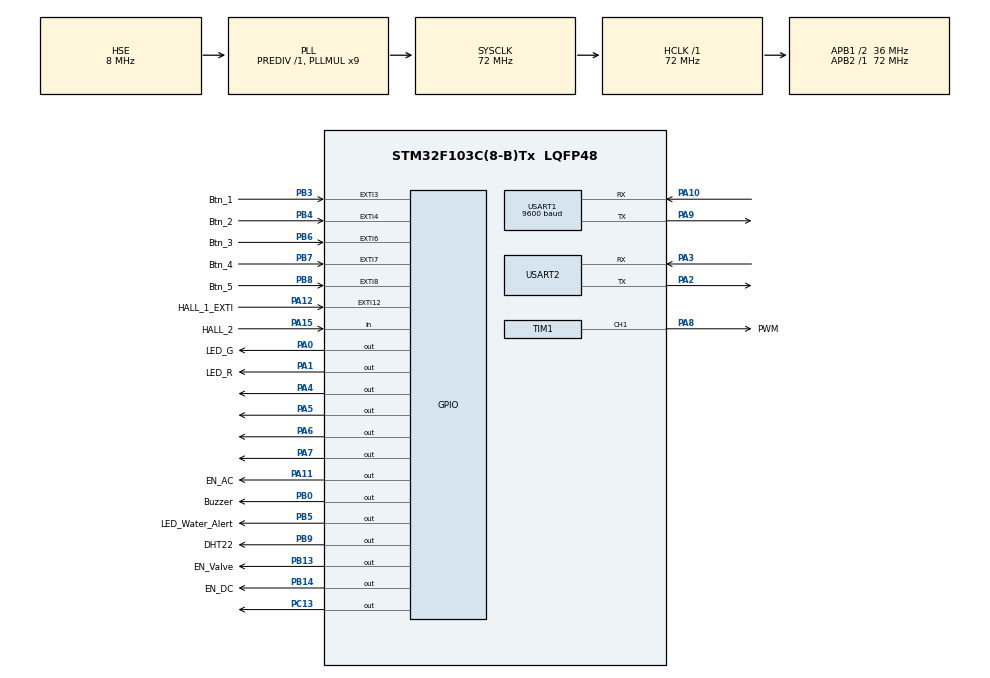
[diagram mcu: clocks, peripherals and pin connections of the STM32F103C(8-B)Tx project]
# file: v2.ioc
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Mcu.Family=STM32F1
Mcu.Name=STM32F103C(8-B)Tx
Mcu.Package=LQFP48
NVIC.EXTI15_10_IRQn=true\:3\:0\:true\:false\:true\:true\:true\:true
NVIC.EXTI3_IRQn=true\:3\:0\:true\:false\:true\:true\:true\:true
NVIC.EXTI4_IRQn=true\:3\:0\:true\:false\:true\:true\:true\:true
NVIC.EXTI9_5_IRQn=true\:3\:0\:true\:false\:true\:true\:true\:true
NVIC.PriorityGroup=NVIC_PRIORITYGROUP_4
NVIC.USART1_IRQn=true\:2\:0\:true\:false\:true\:true\:true\:true
NVIC.USART2_IRQn=true\:2\:0\:true\:false\:true\:true\:true\:true
PA0-WKUP.GPIO_Label=LED_G
PA0-WKUP.PinState=GPIO_PIN_SET
PA0-WKUP.Signal=GPIO_Output
PA1.GPIO_Label=LED_R
PA1.Signal=GPIO_Output
PA10.Mode=Asynchronous
PA10.Signal=USART1_RX
PA11.GPIO_Label=EN_AC
PA11.Signal=GPIO_Output
PA12.GPIO_Label=HALL_1_EXTI
PA12.GPIO_ModeDefaultEXTI=GPIO_MODE_IT_FALLING
PA12.Signal=GPXTI12
PA13.Mode=Serial_Wire
PA13.Signal=SYS_JTMS-SWDIO
PA14.Mode=Serial_Wire
PA14.Signal=SYS_JTCK-SWCLK
PA15.GPIO_Label=HALL_2
PA15.Signal=GPIO_Input
PA2.Mode=Asynchronous
PA2.Signal=USART2_TX
PA3.Mode=Asynchronous
PA3.Signal=USART2_RX
PA4.Signal=GPIO_Output
PA5.Signal=GPIO_Output
PA6.Signal=GPIO_Output
PA7.Signal=GPIO_Output
PA8.GPIO_Label=PWM
PA8.Signal=S_TIM1_CH1
PA9.Mode=Asynchronous
PA9.Signal=USART1_TX
PB0.GPIO_Label=Buzzer
PB0.Signal=GPIO_Output
PB13.GPIO_Label=EN_Valve
PB13.Signal=GPIO_Output
PB14.GPIO_Label=EN_DC
PB14.Signal=GPIO_Output
PB3.GPIO_Label=Btn_1
PB3.GPIO_ModeDefaultEXTI=GPIO_MODE_IT_FALLING
PB3.Signal=GPXTI3
PB4.GPIO_Label=Btn_2
PB4.GPIO_ModeDefaultEXTI=GPIO_MODE_IT_FALLING
PB4.Signal=GPXTI4
PB5.GPIO_Label=LED_Water_Alert
PB5.Signal=GPIO_Output
PB6.GPIO_Label=Btn_3
PB6.GPIO_ModeDefaultEXTI=GPIO_MODE_IT_FALLING
PB6.Signal=GPXTI6
PB7.GPIO_Label=Btn_4
PB7.GPIO_ModeDefaultEXTI=GPIO_MODE_IT_FALLING
PB7.Signal=GPXTI7
PB8.GPIO_Label=Btn_5
PB8.GPIO_ModeDefaultEXTI=GPIO_MODE_IT_FALLING
PB8.Signal=GPXTI8
PB9.GPIO_Label=DHT22
PB9.Signal=GPIO_Output
PC13-TAMPER-RTC.Signal=GPIO_Output
PD0-OSC_IN.Mode=HSE-External-Oscillator
PD0-OSC_IN.Signal=RCC_OSC_IN
PD1-OSC_OUT.Mode=HSE-External-Oscillator
PD1-OSC_OUT.Signal=RCC_OSC_OUT
ProjectManager.HeapSize=0x200
ProjectManager.StackSize=0x400
ProjectManager.TargetToolchain=MDK-ARM V5.32
RCC.AHBFreq_Value=72000000
RCC.APB1CLKDivider=RCC_HCLK_DIV2
RCC.APB1Freq_Value=36000000
RCC.APB1TimFreq_Value=72000000
RCC.APB2Freq_Value=72000000
RCC.APB2TimFreq_Value=72000000
RCC.HCLKFreq_Value=72000000
RCC.PLLMUL=RCC_PLL_MUL9
RCC.PLLSourceVirtual=RCC_PLLSOURCE_HSE
RCC.SYSCLKFreq_VALUE=72000000
RCC.SYSCLKSource=RCC_SYSCLKSOURCE_PLLCLK
RCC.USBFreq_Value=72000000
SH.S_TIM1_CH1.0=TIM1_CH1,PWM Generation1 CH1
TIM1.Channel-PWM\ Generation1\ CH1=TIM_CHANNEL_1
TIM1.Period=100
TIM1.Prescaler=71
TIM1.Pulse-PWM\ Generation1\ CH1=40
TIM2.Period=0xffff-1
TIM2.Prescaler=71
USART1.BaudRate=9600
USART1.VirtualMode=VM_ASYNC
USART2.VirtualMode=VM_ASYNC
VP_TIM1_VS_ClockSourceINT.Mode=Internal
VP_TIM2_VS_ClockSourceINT.Mode=Internal
board=custom

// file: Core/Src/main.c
/* USER CODE BEGIN Header */
/**
  ******************************************************************************
  * @file           : main.c
  * @brief          : Main program body
  ******************************************************************************
  * @attention
  *
  * Copyright (c) 2023 STMicroelectronics.
  * All rights reserved.
  *
  * This software is licensed under terms that can be found in the LICENSE file
  * in the root directory of this software component.
  * If no LICENSE file comes with this software, it is provided AS-IS.
  *
  ******************************************************************************
  */
/* USER CODE END Header */
#include "main.h"

/* USER CODE BEGIN Includes */
#define Humi_Set 55
#include "string.h"
#include "stdio.h"
#include "delay.h"
#include "ST7920_SERIAL.h"
#include "PMS7003_HAL_STM32.h"
#include "DHT22.h"
/* USER CODE END Includes */

TIM_HandleTypeDef htim1;
TIM_HandleTypeDef htim2;

UART_HandleTypeDef huart1;
UART_HandleTypeDef huart2;

void SystemClock_Config(void);
static void MX_GPIO_Init(void);
static void MX_TIM1_Init(void);
static void MX_TIM2_Init(void);
static void MX_USART1_UART_Init(void);
static void MX_USART2_UART_Init(void);
/* USER CODE BEGIN PFP */
void sensor_init(void);
void greeting_Func();
void LCD_disp();
void disp_SensorValue();
void disp_Sys_Info();
void disp_Rec_Act();
void readPMS();
void readDHT();
void check_Btn_Pushed();
void check_Water_Out();
void SLOW_TIM_SET_COMPARE(uint8_t PWM_Target,uint8_t *PWM_INC_From);
void switch_Mode(uint8_t mode);
void humi_Adding_Func();
void pump_Control();
/* USER CODE END PFP */

/* USER CODE BEGIN 0 */

UART_HandleTypeDef huart1;
PMS_typedef PMS7003 = {0};
uint32_t PMS7003_Interval = 0;

uint8_t init_Wheel = 0;
char mesg[5] = {0};

uint8_t hum1, hum2, tempC1, tempC2, SUM, CHECK;
float temp_Celsius = 0;
float humidity = 0;
uint8_t hum_integral, hum_decimal, tempC_integral, tempC_decimal;
char string[15];
char value_string[15];
uint32_t DHT_Interval = 0;

int32_t btn_Interval = 0xFFFFFA24;  										// -1500: vua khoi dong van nhan nut nhan duoc
uint8_t LED_Pc13_State, LED_Water_Alert_State = 0;
uint8_t is_Btn_Pushed = 0;
uint32_t switch_Mode_Interval = 0;
uint32_t air_Status_Interval = 0;

uint16_t count_Hall2_Low = 0;
uint16_t count_For_Water_Out = 0;
uint32_t LED_Water_Out_Interval = 0;
uint32_t Interval;
uint8_t water;
uint8_t pump = 0;
uint8_t pump_Status = 0;
uint32_t pump_Start = 0;

uint8_t humi_Adding = 1;
int32_t humi_Adding_Int = 0xFFFF15A0; // humi Adding checking Interval Init = -60s
uint8_t AC_Motor_State = 0;
uint8_t humi_Delay = 0;

typedef enum{
	SENSOR_VALUE = 1,
	SYS_INFO = 2,
	REC_ACT = 3,
}disp_Mode;
disp_Mode dMode = 1;
uint8_t dispMode_Was_Changed = 0;

typedef enum{
	GOOD = 0,
	MEDIUM = 1,
	BAD = 2,
	TERRIBLE = 3,
}air_Status;
air_Status a_Status;

typedef enum{
	AUTO = 0,
	MANUAL = 1,
	TURBO = 2,
	SLEEP = 3,
	ONLY_SENSOR = 4,
}sys_Mode;
sys_Mode sMode = 0;

uint8_t f_Time_Manual = 1;
typedef enum{
	ZERO = 0,
	LOWER = 1,	 // PWM 40% => 2.68V
	LOW = 2,		 // PWM 47% => 3.15V
	MED =3,			 // PWM 54% => 3.54V
	HIGH = 4,		 // PWM 60% => 3.82V
	HIGHER = 5	 // PWM 70% => 4.2V
}fan_Speed;
fan_Speed fSpeed = 1;

void HAL_GPIO_EXTI_Callback(uint16_t GPIO_Pin){

	if(GPIO_Pin == GPIO_PIN_3){
			if(HAL_GetTick() - btn_Interval >= 1000 && (sMode == MANUAL || sMode == TURBO ||sMode == SLEEP)){
			HAL_GPIO_TogglePin(GPIOC, GPIO_PIN_13);
			is_Btn_Pushed = 1;
			btn_Interval = HAL_GetTick();
			if(humi_Adding == 1) humi_Adding = 0;
			else humi_Adding = 1;
		}
	__HAL_GPIO_EXTI_CLEAR_IT(GPIO_PIN_3);
	HAL_NVIC_ClearPendingIRQ(EXTI3_IRQn);
	}

	if(GPIO_Pin == GPIO_PIN_4){
		if(HAL_GetTick() - btn_Interval >= 1000 && sMode == MANUAL){
			HAL_GPIO_TogglePin(GPIOC, GPIO_PIN_13);
			is_Btn_Pushed = 1;
			btn_Interval = HAL_GetTick();
			fSpeed++;
			if(fSpeed > 5){
				fSpeed = 1;
			}
		}
	__HAL_GPIO_EXTI_CLEAR_IT(GPIO_PIN_4);
	HAL_NVIC_ClearPendingIRQ(EXTI4_IRQn);
	}

	if(GPIO_Pin == GPIO_PIN_6){
		if(HAL_GetTick() - btn_Interval >= 1000){
			HAL_GPIO_TogglePin(GPIOC, GPIO_PIN_13);
			is_Btn_Pushed = 1;
			btn_Interval = HAL_GetTick();
			sMode ++;
			if(sMode > 4){
				sMode = 0;
			}
		}
	__HAL_GPIO_EXTI_CLEAR_IT(GPIO_PIN_6);
	HAL_NVIC_ClearPendingIRQ(EXTI9_5_IRQn);
	}
	// to enable pump acive
	if(GPIO_Pin == GPIO_PIN_7){
		/*
		if(HAL_GetTick() - btn_Interval >= 300){
			HAL_GPIO_TogglePin(GPIOC, GPIO_PIN_13);
			is_Btn_Pushed = 1;
			HAL_GPIO_TogglePin(GPIOB, GPIO_PIN_13);
			btn_Interval = HAL_GetTick();
		}
		*/
		if(HAL_GetTick() - btn_Interval >= 1000){
			HAL_GPIO_TogglePin(GPIOC, GPIO_PIN_13);
			is_Btn_Pushed = 1;
			btn_Interval = HAL_GetTick();
			sMode ++;
			if(sMode > 4){
				sMode = 0;
			}
		}
		__HAL_GPIO_EXTI_CLEAR_IT(GPIO_PIN_7);
		HAL_NVIC_ClearPendingIRQ(EXTI9_5_IRQn);
	}

	if(GPIO_Pin == GPIO_PIN_8){
		if(HAL_GetTick() - btn_Interval >= 1000){
			HAL_GPIO_TogglePin(GPIOC, GPIO_PIN_13);
			is_Btn_Pushed = 1;
			dispMode_Was_Changed = 1;
			dMode++;
			if(dMode > 3){
				dMode = 1;
			}
			btn_Interval = HAL_GetTick();
		}
	__HAL_GPIO_EXTI_CLEAR_IT(GPIO_PIN_8);
	HAL_NVIC_ClearPendingIRQ(EXTI9_5_IRQn);
	}

	if(GPIO_Pin == GPIO_PIN_12){
		if(HAL_GetTick() - btn_Interval >= 200){
			HAL_GPIO_TogglePin(GPIOC, GPIO_PIN_13);
			is_Btn_Pushed = 1;

			if(init_Wheel == 0 && AC_Motor_State == 1){
				HAL_GPIO_WritePin(GPIOA, GPIO_PIN_11, 0);
				AC_Motor_State = 0;
				init_Wheel = 1;
			}
			if((humi_Adding == 0 || humi_Delay == 1) && AC_Motor_State == 1){
				HAL_GPIO_WritePin(GPIOA, GPIO_PIN_11, 0);
				AC_Motor_State = 0;
			}

			btn_Interval = HAL_GetTick();
		}
	__HAL_GPIO_EXTI_CLEAR_IT(GPIO_PIN_12);
	HAL_NVIC_ClearPendingIRQ(	EXTI15_10_IRQn);
	}
}

void greeting_Func(){
	ST7920_SendString(0,0,"DO AN TOT NGHIEP");
	ST7920_SendString(1,0,"****************");
	ST7920_SendString(2,1,"LE VAN DUNG");
	ST7920_SendString(3,2,"1912950");
	delay_ms(4000);
	ST7920_Clear();
}

void PMS7003_Init(void)
{
	PMS7003.PMS_huart = &huart1; 					// passing uart handler to communicate with sensor
	PMS7003.PMS_MODE = PMS_MODE_PASSIVE;	// choosing the MODE
	PMS_Init(&PMS7003);
}

void readPMS(){
		if(PMS_read(&PMS7003) == PMS_OK){
			PMS7003_Interval = HAL_GetTick();
		}
}

void readDHT(){
	 if (DHT22_Start()){
			hum1 = DHT22_Read();
	    hum2 = DHT22_Read();
	    tempC1 = DHT22_Read();
	    tempC2 = DHT22_Read();
	    SUM = DHT22_Read();
	    CHECK = hum1 + hum2 + tempC1 + tempC2;
	    if (CHECK == SUM){
	        if (tempC1>127){
							temp_Celsius = (float)((tempC1<<8)|tempC2)/10*(-1);
	         }
	         else{
							temp_Celsius = (float)((tempC1<<8)|tempC2)/10;
	         }
	         humidity = (float)((hum1<<8)|hum2)/10;
	         hum_integral = humidity;
	         hum_decimal = humidity*10-hum_integral*10;
			}
		}
}

void LCD_disp(){
	if (dMode == SENSOR_VALUE){
		disp_SensorValue();
	}
	else if(dMode == SYS_INFO){
		disp_Sys_Info();
	}
	else disp_Rec_Act();
}
void disp_SensorValue(){
			if(dispMode_Was_Changed){
				ST7920_Clear();
				dispMode_Was_Changed = 0;
			}
			sprintf(string,"H: %d.%d", hum_integral, hum_decimal);
			ST7920_SendString(0,0,string);

			if (temp_Celsius < 0){
						tempC_integral = temp_Celsius *(-1);
						tempC_decimal = temp_Celsius*(-10)-tempC_integral*10;
						sprintf(string,"T:%d.%d", tempC_integral, tempC_decimal);
						ST7920_SendString(0,5,string);
			}
			else{
	          tempC_integral = temp_Celsius;
	          tempC_decimal = temp_Celsius*10-tempC_integral*10;
	          sprintf(string,"T:%d.%d", tempC_integral, tempC_decimal);
						ST7920_SendString(0,5,string);
			}

			ST7920_SendString(1,0,"PM1.0:" );
			sprintf(mesg,"%d  ",PMS7003.PM1_0_atmospheric);
			ST7920_SendString(1,3,mesg);
			ST7920_SendString(1,5,"ug/m3" );

			ST7920_SendString(2,0,"PM2.5:" );
			sprintf(mesg,"%d  ",PMS7003.PM2_5_atmospheric);
			ST7920_SendString(2,3,mesg);
			ST7920_SendString(2,5,"ug/m3" );

			ST7920_SendString(3,0,"PM10 :" );
			sprintf(mesg,"%d  ",PMS7003.PM10_atmospheric);
			ST7920_SendString(3,3,mesg);
			ST7920_SendString(3,5,"ug/m3" );
}

void disp_Sys_Info(){
		if(dispMode_Was_Changed){
			ST7920_Clear();;
			dispMode_Was_Changed = 0;
		}

		switch (a_Status){
			case MEDIUM:
			{
				strcpy(value_string, " MEDIUM   ");
				break;
			}
			case BAD:
			{
				strcpy(value_string, " BAD      ");
				break;
			}
			case TERRIBLE:
			{
				strcpy(value_string, " TERRIBLE ");
				break;
			}
			default:
			{
				strcpy(value_string, " GOOD     ");
				break;
			}
		}
		sprintf(string,"AIR_Q:%s",value_string);
		ST7920_SendString(0,0,string);

		switch (sMode){
			case AUTO:
			{
				strcpy(value_string, "   AUTO    ");
				break;
			}
			case MANUAL:
			{
				strcpy(value_string, "  MANUAL   ");
				break;
			}
			case TURBO:
			{
				strcpy(value_string, "  TURBO    ");
				break;
			}
			case SLEEP:
			{
				strcpy(value_string, "  SLEEP    ");
				break;
			}
			default:
			{
				strcpy(value_string, "ONLY_SENSOR");
				break;
			}
		}
		sprintf(string,"MODE:%s",value_string);
		ST7920_SendString(1,0,string);

		switch (fSpeed){
			case ZERO:
			{
				strcpy(value_string, "  ZERO     ");
				break;
			}
			case LOWER:
			{
				strcpy(value_string, "  LOWER    ");
				break;
			}
			case LOW:
			{
				strcpy(value_string, "   LOW     ");
				break;
			}
			case MED:
			{
				strcpy(value_string, "  MEDIUM   ");
				break;
			}
			case HIGH:
			{
				strcpy(value_string, "  HIGH     ");
				break;
			}
			default:
			{
				strcpy(value_string, "  HIGHEST  ");
				break;
			}
		}
		sprintf(string,"FAN :%s",value_string);
		ST7920_SendString(2,0,string);

		if(humi_Adding == 1)
			strcpy(value_string, " YES  ");
		else
			strcpy(value_string, " NO   ");
		sprintf(string,"HUMI_COMP:%s",value_string);
		ST7920_SendString(3,0,string);
}

void disp_Rec_Act(){
			if(dispMode_Was_Changed){
				ST7920_Clear();
				dispMode_Was_Changed = 0;
			}
			ST7920_SendString(0,0,"Disp Mode 3");
}
/* Func for reading satatus of HALL sensor 1 to GPIO PA12 (Shape: Rectangle): Use for detect the lowest position of wheel humidity compensation
void stop_Humd_Compensation(){
	if(!HAL_GPIO_ReadPin(GPIOA,GPIO_PIN_12) && !LED_Pc13_State){
				HAL_GPIO_WritePin(GPIOC, GPIO_PIN_13,0);
				LED_Pc13_State = 1;
		}
		if(HAL_GPIO_ReadPin(GPIOA,GPIO_PIN_12) && LED_Pc13_State){
				HAL_GPIO_WritePin(GPIOC, GPIO_PIN_13,1);
				LED_Pc13_State = 0;
		}

}
*/

void check_Btn_Pushed(){
	if(is_Btn_Pushed){
		HAL_GPIO_WritePin(GPIOB, GPIO_PIN_0, 1);
		delay_ms(100);
		HAL_GPIO_WritePin(GPIOB, GPIO_PIN_0, 0);
		is_Btn_Pushed = 0;
	}
}

void check_Water_Out(){

		if (HAL_GPIO_ReadPin(GPIOA,GPIO_PIN_15) == 0){
			if(count_Hall2_Low < 550){
				count_Hall2_Low ++;
			}
		}
		else{
			count_Hall2_Low = 0;
			count_For_Water_Out = 0;
			water = 1;
		}

		if (HAL_GPIO_ReadPin(GPIOA,GPIO_PIN_15) == 0 && count_Hall2_Low > 500){
				if(HAL_GetTick() - Interval >= 500){
							Interval = HAL_GetTick();
							count_For_Water_Out++;
				}
				if (count_For_Water_Out == 10) {
					pump = 1;
				}
				if (count_For_Water_Out >= 20 && HAL_GetTick() - LED_Water_Out_Interval >= 500 ){
					HAL_GPIO_TogglePin(GPIOB, GPIO_PIN_5);
					LED_Water_Out_Interval = HAL_GetTick();
					water = 0;

				}
		}
		else {
			HAL_GPIO_WritePin(GPIOB, GPIO_PIN_5,0);
		}
}

void pump_Control(){
	if (pump == 1){
		if(pump_Status == 0){
			HAL_GPIO_WritePin(GPIOB, GPIO_PIN_13, 1);
			pump_Start = HAL_GetTick();
			pump_Status = 1;
		}
		if( pump_Status == 1 && (HAL_GetTick() - pump_Start >= 7000 )){
			HAL_GPIO_WritePin(GPIOB, GPIO_PIN_13, 0);
			pump_Status = 0;
			pump = 0;
		}
	}
}
/* Hall_2 sensor is not stable, it's mean without magnetic, it maybe low or high. It is only low when have magnetic */
/*void check_Water_Out(){

		if (HAL_GPIO_ReadPin(GPIOA,GPIO_PIN_15) == 0){
			if(count_Hall2_Low < 200){		// tang bien dem len vi cam bien khong on dinh
				count_Hall2_Low ++;
			}
		}
		else count_Hall2_Low = 0;				// reset bien dem neu nhan muc 1

		if ((HAL_GPIO_ReadPin(GPIOA,GPIO_PIN_15) == 0) && (count_Hall2_Low > 190) && (HAL_GetTick() - LED_Water_Out_Interval >= 1000)){  // xac nhan het nuoc
				HAL_GPIO_TogglePin(GPIOB, GPIO_PIN_5);
				LED_Water_Out_Interval = HAL_GetTick();
				count_For_Water_Out ++;
		}
		else{
			HAL_GPIO_WritePin(GPIOB, GPIO_PIN_5,0);
			LED_Water_Alert_State = 0;
		}
}

void check_Water_Out(){

		if (HAL_GPIO_ReadPin(GPIOA,GPIO_PIN_15) == 0){
			if(count_Hall2_Low < 60){
				count_Hall2_Low ++;
			}
		}
		else count_Hall2_Low = 0;

		if (HAL_GPIO_ReadPin(GPIOA,GPIO_PIN_15) == 0 && count_Hall2_Low > 50){
					if(LED_Water_Alert_State == 1){
						HAL_GPIO_WritePin(GPIOB, GPIO_PIN_5,0);
						LED_Water_Alert_State = 0;
					}
		}

		else if(HAL_GetTick() - count_For_Water > 500)
		{
			HAL_GPIO_TogglePin(GPIOB, GPIO_PIN_5);
			count_For_Water = HAL_GetTick();

			LED_Water_Alert_State = 1;
		}
}

*/
void update_LED_Status(air_Status i){
	if( i == GOOD || i == MEDIUM){
		HAL_GPIO_WritePin(LED_R_GPIO_Port, LED_R_Pin, 0);
		delay_ms(10);
		HAL_GPIO_WritePin(LED_G_GPIO_Port, LED_G_Pin, 1);
	}
	else{
		HAL_GPIO_WritePin(LED_G_GPIO_Port, LED_G_Pin, 0);
		delay_ms(10);
		HAL_GPIO_WritePin(LED_R_GPIO_Port, LED_R_Pin, 1);
	}
}

air_Status update_Air_Status(int pm1, int pm25, int pm10){
	if(pm1 <= 12 && pm25 <= 12 && pm10 <= 54){
		return GOOD;
	}
	else if(pm1 >= 56 && pm25 >= 56 && pm10 >= 255) return TERRIBLE;

	else if( (pm1>=13 && pm1 < 35 && pm25 < 35 & pm10 < 154) || (pm25 >= 13 && pm25 < 35 && pm1 < 35 && pm10 < 154) ||( pm10 >=55 && pm10 < 154 && pm1 < 35 && pm25 < 35))
		return MEDIUM;
	else return BAD;

}
/*
void SLOW_TIM_SET_COMPARE(uint8_t PWM_Target,uint8_t *PWM_INC_From){
	__HAL_TIM_SET_COMPARE(&htim1, TIM_CHANNEL_1,*PWM_INC_From);
	if (*PWM_INC_From < PWM_Target){
		*PWM_INC_From = (*PWM_INC_From) + 1;
	}
}
*/

fan_Speed update_Fanspeed_Auto(air_Status i){
	if(i == GOOD){
		__HAL_TIM_SET_COMPARE(&htim1, TIM_CHANNEL_1,47);
		return LOW;
	}
	else if(i == MEDIUM){
		__HAL_TIM_SET_COMPARE(&htim1, TIM_CHANNEL_1,47);
		return MED;
	}
	else if(i == BAD){
		//PWM_Change_Wide_Range = 1;
		__HAL_TIM_SET_COMPARE(&htim1, TIM_CHANNEL_1,60);
		//SLOW_TIM_SET_COMPARE(60, &PWM_INC_From);
		return HIGH;
	}
	else{
		//PWM_Change_Wide_Range = 1;
		__HAL_TIM_SET_COMPARE(&htim1, TIM_CHANNEL_1,70);
		//SLOW_TIM_SET_COMPARE(70, &PWM_INC_From);
		return HIGHER;
	}
}
/*
	LOWER = 1,	 // PWM 40% => 2.68V
	LOW = 2,		 // PWM 47% => 3.15V
	MED = 3,		 // PWM 54% => 3.54V
	HIGH = 4,		 // PWM 60% => 3.82V
	HIGHER = 5	 // PWM 70% => 4.2V
*/
void update_Fanspeed_Manual(fan_Speed i){
	if(i == LOWER ){
		__HAL_TIM_SET_COMPARE(&htim1, TIM_CHANNEL_1,40);
	}
	else if(i == LOW){
		__HAL_TIM_SET_COMPARE(&htim1, TIM_CHANNEL_1,47);
	}
	else if(i == MED){
		__HAL_TIM_SET_COMPARE(&htim1, TIM_CHANNEL_1,54);
	}
	else if(i == HIGH){
		//PWM_Change_Wide_Range = 1;
		//SLOW_TIM_SET_COMPARE(60, &PWM_INC_From);
		__HAL_TIM_SET_COMPARE(&htim1, TIM_CHANNEL_1,60);
	}
	else{
		__HAL_TIM_SET_COMPARE(&htim1, TIM_CHANNEL_1,70);
		//PWM_Change_Wide_Range = 1;
		//SLOW_TIM_SET_COMPARE(70, &PWM_INC_From);
	}
	f_Time_Manual = 0;
}

void switch_Mode(uint8_t mode){
	switch(mode){
		case MANUAL:
		{
			if(f_Time_Manual == 1){
				fSpeed = LOWER;
			}
			update_Fanspeed_Manual(fSpeed);
			if(humi_Adding){
				humi_Adding_Func();
			}
			break;
		}
		case TURBO:
		{
			__HAL_TIM_SET_COMPARE(&htim1, TIM_CHANNEL_1,70);
			fSpeed = HIGHER;
			if(humi_Adding){
				humi_Adding_Func();
			}
			break;
		}
		case SLEEP:
		{
			__HAL_TIM_SET_COMPARE(&htim1, TIM_CHANNEL_1,40);
			fSpeed = LOWER;
			if(humi_Adding){
				humi_Adding_Func();
			}
			break;
		}
		case ONLY_SENSOR:
		{
			__HAL_TIM_SET_COMPARE(&htim1, TIM_CHANNEL_1,0);
		fSpeed = ZERO;
		humi_Adding = 0;
			break;
		}

		default:
		{

			fSpeed = update_Fanspeed_Auto(a_Status);
			humi_Adding = 1;
			f_Time_Manual = 1;
			humi_Adding_Func();
			break;
		}
	}
}

void humi_Adding_Func(){
	if(humidity <= Humi_Set && humidity >= 20 && AC_Motor_State == 0 && HAL_GetTick() - humi_Adding_Int >= 30000 && water == 1){
		HAL_GPIO_WritePin(GPIOA, GPIO_PIN_11, 1);
		AC_Motor_State = 1;
		humi_Delay = 0;
		humi_Adding_Int = HAL_GetTick();
	}
	if( (humidity > Humi_Set) && AC_Motor_State == 1 && HAL_GetTick() - humi_Adding_Int >= 30000){
		humi_Delay = 1;
		humi_Adding_Int = HAL_GetTick();
	}
}

/* USER CODE END 0 */

int main(void)
{

  /* MCU Configuration--------------------------------------------------------*/

  /* Reset of all peripherals, Initializes the Flash interface and the Systick. */
  HAL_Init();

  /* Configure the system clock */
  SystemClock_Config();

  /* Initialize all configured peripherals */
  MX_GPIO_Init();
  MX_TIM1_Init();
  MX_TIM2_Init();
  MX_USART1_UART_Init();
  MX_USART2_UART_Init();
  /* USER CODE BEGIN 2 */
	HAL_TIM_PWM_Start(&htim1, TIM_CHANNEL_1);		//PWM default on wake up 40%\

	PMS7003_Init();
	delay_init();
	ST7920_Init();
	greeting_Func();
  /* USER CODE END 2 */

  /* Infinite loop */
  /* USER CODE BEGIN WHILE */
	PMS7003_Interval = HAL_GetTick();
	DHT_Interval = HAL_GetTick();
	HAL_GPIO_WritePin(GPIOA, GPIO_PIN_11, 1);
	AC_Motor_State =  1;
  while(1){
		if(HAL_GetTick() - PMS7003_Interval >= 1500){
			readPMS();
		}

		if(HAL_GetTick() - DHT_Interval >= 1500){
			readDHT();
			DHT_Interval = HAL_GetTick();
		}

		LCD_disp();
		check_Water_Out();
		pump_Control();
		check_Btn_Pushed();

		if(HAL_GetTick() - air_Status_Interval >= 3000){
			a_Status = update_Air_Status(PMS7003.PM1_0_atmospheric,PMS7003.PM2_5_atmospheric,PMS7003.PM10_atmospheric);
			update_LED_Status(a_Status);
			air_Status_Interval = HAL_GetTick();
		}

		if(HAL_GetTick() - switch_Mode_Interval >= 5000){
			switch_Mode(sMode);
			switch_Mode_Interval = HAL_GetTick();
		}
    /* USER CODE END WHILE */

  }
}

void SystemClock_Config(void)
{
  RCC_OscInitTypeDef RCC_OscInitStruct = {0};
  RCC_ClkInitTypeDef RCC_ClkInitStruct = {0};

  /** Initializes the RCC Oscillators according to the specified parameters
  * in the RCC_OscInitTypeDef structure.
  */
  RCC_OscInitStruct.OscillatorType = RCC_OSCILLATORTYPE_HSE;
  RCC_OscInitStruct.HSEState = RCC_HSE_ON;
  RCC_OscInitStruct.HSEPredivValue = RCC_HSE_PREDIV_DIV1;
  RCC_OscInitStruct.HSIState = RCC_HSI_ON;
  RCC_OscInitStruct.PLL.PLLState = RCC_PLL_ON;
  RCC_OscInitStruct.PLL.PLLSource = RCC_PLLSOURCE_HSE;
  RCC_OscInitStruct.PLL.PLLMUL = RCC_PLL_MUL9;
  if (HAL_RCC_OscConfig(&RCC_OscInitStruct) != HAL_OK)
  {
    Error_Handler();
  }

  /** Initializes the CPU, AHB and APB buses clocks
  */
  RCC_ClkInitStruct.ClockType = RCC_CLOCKTYPE_HCLK|RCC_CLOCKTYPE_SYSCLK
                              |RCC_CLOCKTYPE_PCLK1|RCC_CLOCKTYPE_PCLK2;
  RCC_ClkInitStruct.SYSCLKSource = RCC_SYSCLKSOURCE_PLLCLK;
  RCC_ClkInitStruct.AHBCLKDivider = RCC_SYSCLK_DIV1;
  RCC_ClkInitStruct.APB1CLKDivider = RCC_HCLK_DIV2;
  RCC_ClkInitStruct.APB2CLKDivider = RCC_HCLK_DIV1;

  if (HAL_RCC_ClockConfig(&RCC_ClkInitStruct, FLASH_LATENCY_2) != HAL_OK)
  {
    Error_Handler();
  }
}

static void MX_TIM1_Init(void)
{

  TIM_ClockConfigTypeDef sClockSourceConfig = {0};
  TIM_MasterConfigTypeDef sMasterConfig = {0};
  TIM_OC_InitTypeDef sConfigOC = {0};
  TIM_BreakDeadTimeConfigTypeDef sBreakDeadTimeConfig = {0};

  htim1.Instance = TIM1;
  htim1.Init.Prescaler = 71;
  htim1.Init.CounterMode = TIM_COUNTERMODE_UP;
  htim1.Init.Period = 100;
  htim1.Init.ClockDivision = TIM_CLOCKDIVISION_DIV1;
  htim1.Init.RepetitionCounter = 0;
  htim1.Init.AutoReloadPreload = TIM_AUTORELOAD_PRELOAD_DISABLE;
  if (HAL_TIM_Base_Init(&htim1) != HAL_OK)
  {
    Error_Handler();
  }
  sClockSourceConfig.ClockSource = TIM_CLOCKSOURCE_INTERNAL;
  if (HAL_TIM_ConfigClockSource(&htim1, &sClockSourceConfig) != HAL_OK)
  {
    Error_Handler();
  }
  if (HAL_TIM_PWM_Init(&htim1) != HAL_OK)
  {
    Error_Handler();
  }
  sMasterConfig.MasterOutputTrigger = TIM_TRGO_RESET;
  sMasterConfig.MasterSlaveMode = TIM_MASTERSLAVEMODE_DISABLE;
  if (HAL_TIMEx_MasterConfigSynchronization(&htim1, &sMasterConfig) != HAL_OK)
  {
    Error_Handler();
  }
  sConfigOC.OCMode = TIM_OCMODE_PWM1;
  sConfigOC.Pulse = 40;
  sConfigOC.OCPolarity = TIM_OCPOLARITY_HIGH;
  sConfigOC.OCNPolarity = TIM_OCNPOLARITY_HIGH;
  sConfigOC.OCFastMode = TIM_OCFAST_DISABLE;
  sConfigOC.OCIdleState = TIM_OCIDLESTATE_RESET;
  sConfigOC.OCNIdleState = TIM_OCNIDLESTATE_RESET;
  if (HAL_TIM_PWM_ConfigChannel(&htim1, &sConfigOC, TIM_CHANNEL_1) != HAL_OK)
  {
    Error_Handler();
  }
  sBreakDeadTimeConfig.OffStateRunMode = TIM_OSSR_DISABLE;
  sBreakDeadTimeConfig.OffStateIDLEMode = TIM_OSSI_DISABLE;
  sBreakDeadTimeConfig.LockLevel = TIM_LOCKLEVEL_OFF;
  sBreakDeadTimeConfig.DeadTime = 0;
  sBreakDeadTimeConfig.BreakState = TIM_BREAK_DISABLE;
  sBreakDeadTimeConfig.BreakPolarity = TIM_BREAKPOLARITY_HIGH;
  sBreakDeadTimeConfig.AutomaticOutput = TIM_AUTOMATICOUTPUT_DISABLE;
  if (HAL_TIMEx_ConfigBreakDeadTime(&htim1, &sBreakDeadTimeConfig) != HAL_OK)
  {
    Error_Handler();
  }
  HAL_TIM_MspPostInit(&htim1);

}

static void MX_TIM2_Init(void)
{

  TIM_ClockConfigTypeDef sClockSourceConfig = {0};
  TIM_MasterConfigTypeDef sMasterConfig = {0};

  htim2.Instance = TIM2;
  htim2.Init.Prescaler = 71;
  htim2.Init.CounterMode = TIM_COUNTERMODE_UP;
  htim2.Init.Period = 0xffff-1;
  htim2.Init.ClockDivision = TIM_CLOCKDIVISION_DIV1;
  htim2.Init.AutoReloadPreload = TIM_AUTORELOAD_PRELOAD_DISABLE;
  if (HAL_TIM_Base_Init(&htim2) != HAL_OK)
  {
    Error_Handler();
  }
  sClockSourceConfig.ClockSource = TIM_CLOCKSOURCE_INTERNAL;
  if (HAL_TIM_ConfigClockSource(&htim2, &sClockSourceConfig) != HAL_OK)
  {
    Error_Handler();
  }
  sMasterConfig.MasterOutputTrigger = TIM_TRGO_RESET;
  sMasterConfig.MasterSlaveMode = TIM_MASTERSLAVEMODE_DISABLE;
  if (HAL_TIMEx_MasterConfigSynchronization(&htim2, &sMasterConfig) != HAL_OK)
  {
    Error_Handler();
  }

}

static void MX_USART1_UART_Init(void)
{

  huart1.Instance = USART1;
  huart1.Init.BaudRate = 9600;
  huart1.Init.WordLength = UART_WORDLENGTH_8B;
  huart1.Init.StopBits = UART_STOPBITS_1;
  huart1.Init.Parity = UART_PARITY_NONE;
  huart1.Init.Mode = UART_MODE_TX_RX;
  huart1.Init.HwFlowCtl = UART_HWCONTROL_NONE;
  huart1.Init.OverSampling = UART_OVERSAMPLING_16;
  if (HAL_UART_Init(&huart1) != HAL_OK)
  {
    Error_Handler();
  }

}

static void MX_USART2_UART_Init(void)
{

  huart2.Instance = USART2;
  huart2.Init.BaudRate = 115200;
  huart2.Init.WordLength = UART_WORDLENGTH_8B;
  huart2.Init.StopBits = UART_STOPBITS_1;
  huart2.Init.Parity = UART_PARITY_NONE;
  huart2.Init.Mode = UART_MODE_TX_RX;
  huart2.Init.HwFlowCtl = UART_HWCONTROL_NONE;
  huart2.Init.OverSampling = UART_OVERSAMPLING_16;
  if (HAL_UART_Init(&huart2) != HAL_OK)
  {
    Error_Handler();
  }

}

static void MX_GPIO_Init(void)
{
  GPIO_InitTypeDef GPIO_InitStruct = {0};

  /* GPIO Ports Clock Enable */
  __HAL_RCC_GPIOC_CLK_ENABLE();
  __HAL_RCC_GPIOD_CLK_ENABLE();
  __HAL_RCC_GPIOA_CLK_ENABLE();
  __HAL_RCC_GPIOB_CLK_ENABLE();

  /*Configure GPIO pin Output Level */
  HAL_GPIO_WritePin(GPIOC, GPIO_PIN_13, GPIO_PIN_RESET);

  /*Configure GPIO pin Output Level */
  HAL_GPIO_WritePin(LED_G_GPIO_Port, LED_G_Pin, GPIO_PIN_SET);

  /*Configure GPIO pin Output Level */
  HAL_GPIO_WritePin(GPIOA, LED_R_Pin|GPIO_PIN_4|GPIO_PIN_5|GPIO_PIN_6
                          |GPIO_PIN_7|EN_AC_Pin, GPIO_PIN_RESET);

  /*Configure GPIO pin Output Level */
  HAL_GPIO_WritePin(GPIOB, Buzzer_Pin|EN_Valve_Pin|EN_DC_Pin|LED_Water_Alert_Pin
                          |DHT22_Pin, GPIO_PIN_RESET);

  /*Configure GPIO pin : PC13 */
  GPIO_InitStruct.Pin = GPIO_PIN_13;
  GPIO_InitStruct.Mode = GPIO_MODE_OUTPUT_PP;
  GPIO_InitStruct.Pull = GPIO_NOPULL;
  GPIO_InitStruct.Speed = GPIO_SPEED_FREQ_LOW;
  HAL_GPIO_Init(GPIOC, &GPIO_InitStruct);

  /*Configure GPIO pins : LED_G_Pin LED_R_Pin PA4 PA5
                           PA6 PA7 EN_AC_Pin */
  GPIO_InitStruct.Pin = LED_G_Pin|LED_R_Pin|GPIO_PIN_4|GPIO_PIN_5
                          |GPIO_PIN_6|GPIO_PIN_7|EN_AC_Pin;
  GPIO_InitStruct.Mode = GPIO_MODE_OUTPUT_PP;
  GPIO_InitStruct.Pull = GPIO_NOPULL;
  GPIO_InitStruct.Speed = GPIO_SPEED_FREQ_LOW;
  HAL_GPIO_Init(GPIOA, &GPIO_InitStruct);

  /*Configure GPIO pins : Buzzer_Pin EN_Valve_Pin EN_DC_Pin LED_Water_Alert_Pin
                           DHT22_Pin */
  GPIO_InitStruct.Pin = Buzzer_Pin|EN_Valve_Pin|EN_DC_Pin|LED_Water_Alert_Pin
                          |DHT22_Pin;
  GPIO_InitStruct.Mode = GPIO_MODE_OUTPUT_PP;
  GPIO_InitStruct.Pull = GPIO_NOPULL;
  GPIO_InitStruct.Speed = GPIO_SPEED_FREQ_LOW;
  HAL_GPIO_Init(GPIOB, &GPIO_InitStruct);

  /*Configure GPIO pin : HALL_1_EXTI_Pin */
  GPIO_InitStruct.Pin = HALL_1_EXTI_Pin;
  GPIO_InitStruct.Mode = GPIO_MODE_IT_FALLING;
  GPIO_InitStruct.Pull = GPIO_NOPULL;
  HAL_GPIO_Init(HALL_1_EXTI_GPIO_Port, &GPIO_InitStruct);

  /*Configure GPIO pin : HALL_2_Pin */
  GPIO_InitStruct.Pin = HALL_2_Pin;
  GPIO_InitStruct.Mode = GPIO_MODE_INPUT;
  GPIO_InitStruct.Pull = GPIO_NOPULL;
  HAL_GPIO_Init(HALL_2_GPIO_Port, &GPIO_InitStruct);

  /*Configure GPIO pins : Btn_1_Pin Btn_2_Pin Btn_3_Pin Btn_4_Pin
                           Btn_5_Pin */
  GPIO_InitStruct.Pin = Btn_1_Pin|Btn_2_Pin|Btn_3_Pin|Btn_4_Pin
                          |Btn_5_Pin;
  GPIO_InitStruct.Mode = GPIO_MODE_IT_FALLING;
  GPIO_InitStruct.Pull = GPIO_NOPULL;
  HAL_GPIO_Init(GPIOB, &GPIO_InitStruct);

  /* EXTI interrupt init*/
  HAL_NVIC_SetPriority(EXTI3_IRQn, 3, 0);
  HAL_NVIC_EnableIRQ(EXTI3_IRQn);

  HAL_NVIC_SetPriority(EXTI4_IRQn, 3, 0);
  HAL_NVIC_EnableIRQ(EXTI4_IRQn);

  HAL_NVIC_SetPriority(EXTI9_5_IRQn, 3, 0);
  HAL_NVIC_EnableIRQ(EXTI9_5_IRQn);

  HAL_NVIC_SetPriority(EXTI15_10_IRQn, 3, 0);
  HAL_NVIC_EnableIRQ(EXTI15_10_IRQn);

}

void Error_Handler(void)
{
  __disable_irq();
  while (1)
  {
  }
}
